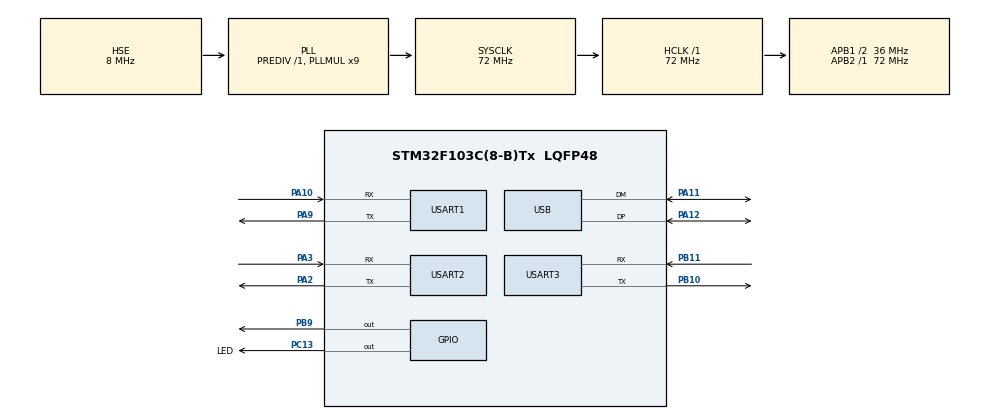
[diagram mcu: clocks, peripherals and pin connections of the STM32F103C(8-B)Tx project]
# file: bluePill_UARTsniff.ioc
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FREERTOS.Tasks01=defaultTask,24,128,StartDefaultTask,Default,NULL,Dynamic,NULL,NULL
FREERTOS.configCHECK_FOR_STACK_OVERFLOW=2
FREERTOS.configGENERATE_RUN_TIME_STATS=1
FREERTOS.configTOTAL_HEAP_SIZE=4096
FREERTOS.configUSE_STATS_FORMATTING_FUNCTIONS=1
Mcu.Family=STM32F1
Mcu.Name=STM32F103C(8-B)Tx
Mcu.Package=LQFP48
Mcu.UserConstants=USART1_BAUDRATE,115200;USART2_BAUDRATE,115200;USART3_BAUDRATE,115200
NVIC.PriorityGroup=NVIC_PRIORITYGROUP_4
NVIC.TIM4_IRQn=true\:15\:0\:false\:false\:true\:false\:false\:true\:true
NVIC.TimeBase=TIM4_IRQn
NVIC.TimeBaseIP=TIM4
NVIC.USART1_IRQn=true\:5\:0\:false\:false\:true\:true\:true\:true\:true
NVIC.USART2_IRQn=true\:5\:0\:false\:false\:true\:true\:true\:true\:true
NVIC.USART3_IRQn=true\:5\:0\:false\:false\:true\:true\:true\:true\:true
NVIC.USB_LP_CAN1_RX0_IRQn=true\:5\:0\:false\:false\:true\:true\:false\:true\:true
PA10.Mode=Asynchronous
PA10.Signal=USART1_RX
PA11.Mode=Device
PA11.Signal=USB_DM
PA12.Mode=Device
PA12.Signal=USB_DP
PA13.Mode=Serial_Wire
PA13.Signal=SYS_JTMS-SWDIO
PA14.Mode=Serial_Wire
PA14.Signal=SYS_JTCK-SWCLK
PA2.Mode=Asynchronous
PA2.Signal=USART2_TX
PA3.Mode=Asynchronous
PA3.Signal=USART2_RX
PA9.Mode=Asynchronous
PA9.Signal=USART1_TX
PB10.Mode=Asynchronous
PB10.Signal=USART3_TX
PB11.Mode=Asynchronous
PB11.Signal=USART3_RX
PB9.GPIO_PuPd=GPIO_NOPULL
PB9.PinState=GPIO_PIN_SET
PB9.Signal=GPIO_Output
PC13-TAMPER-RTC.GPIO_Label=LED
PC13-TAMPER-RTC.GPIO_PuPd=GPIO_NOPULL
PC13-TAMPER-RTC.GPIO_Speed=GPIO_SPEED_FREQ_LOW
PC13-TAMPER-RTC.PinState=GPIO_PIN_SET
PC13-TAMPER-RTC.Signal=GPIO_Output
PC14-OSC32_IN.Mode=LSE-External-Oscillator
PC14-OSC32_IN.Signal=RCC_OSC32_IN
PC15-OSC32_OUT.Mode=LSE-External-Oscillator
PC15-OSC32_OUT.Signal=RCC_OSC32_OUT
PD0-OSC_IN.Mode=HSE-External-Oscillator
PD0-OSC_IN.Signal=RCC_OSC_IN
PD1-OSC_OUT.Mode=HSE-External-Oscillator
PD1-OSC_OUT.Signal=RCC_OSC_OUT
ProjectManager.HeapSize=0x200
ProjectManager.StackSize=0x400
ProjectManager.TargetToolchain=STM32CubeIDE
RCC.AHBFreq_Value=72000000
RCC.APB1CLKDivider=RCC_HCLK_DIV2
RCC.APB1Freq_Value=36000000
RCC.APB1TimFreq_Value=72000000
RCC.APB2Freq_Value=72000000
RCC.APB2TimFreq_Value=72000000
RCC.HCLKFreq_Value=72000000
RCC.PLLMUL=RCC_PLL_MUL9
RCC.PLLSourceVirtual=RCC_PLLSOURCE_HSE
RCC.RTCClockSelection=RCC_RTCCLKSOURCE_LSE
RCC.SYSCLKFreq_VALUE=72000000
RCC.SYSCLKSource=RCC_SYSCLKSOURCE_PLLCLK
RCC.USBFreq_Value=48000000
RCC.USBPrescaler=RCC_USBCLKSOURCE_PLL_DIV1_5
USART1.BaudRate=USART1_BAUDRATE
USART1.VirtualMode=VM_ASYNC
USART2.BaudRate=USART2_BAUDRATE
USART2.VirtualMode=VM_ASYNC
USART3.BaudRate=USART3_BAUDRATE
USART3.VirtualMode=VM_ASYNC
USB_DEVICE.CLASS_NAME_FS=CDC
USB_DEVICE.VirtualMode=Cdc
USB_DEVICE.VirtualModeFS=Cdc_FS
VP_FREERTOS_VS_CMSIS_V2.Mode=CMSIS_V2
VP_SYS_VS_tim4.Mode=TIM4
VP_USB_DEVICE_VS_USB_DEVICE_CDC_FS.Mode=CDC_FS
board=custom

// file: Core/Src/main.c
/* USER CODE BEGIN Header */
/**
  ******************************************************************************
  * @file           : main.c
  * @brief          : Main program body
  ******************************************************************************
  * @attention
  *
  * <h2><center>&copy; Copyright (c) 2022 STMicroelectronics.
  * All rights reserved.</center></h2>
  *
  * This software component is licensed by ST under BSD 3-Clause license,
  * the "License"; You may not use this file except in compliance with the
  * License. You may obtain a copy of the License at:
  *                        opensource.org/licenses/BSD-3-Clause
  *
  ******************************************************************************
  */
/* USER CODE END Header */
#include "main.h"
#include "cmsis_os.h"
#include "usb_device.h"

/* USER CODE BEGIN Includes */
#include "usbd_cdc_if.h"
#include "string.h"
/* USER CODE END Includes */

/* USER CODE BEGIN PD */
#define USB_SEND_QUEVE_NUM 32
#define RX_BUF_SIZE 17
#define HEX_BUF_SIZE 52

#define	SEND_STRING_LENGTH 16 	//3 - UART name, 16 - message bytes
#define SPACING_LENGTH 2
#define HEX_VAL_LENGTH 3		//2 symbols + space
#define PREFIX_LENGTH 5
#define BAUD_RATE_MAX_LENGTH 10
#define USB_SEND_BUF_SIZE 100

#define UART_TIMEOUT 1000
#define UART1_NUM '1'
#define UART2_NUM '2'
#define UART3_NUM '3'

#define TRUE 1
#define FALSE 0
/* USER CODE END PD */

 UART_HandleTypeDef huart1;
UART_HandleTypeDef huart2;
UART_HandleTypeDef huart3;

/* Definitions for defaultTask */
osThreadId_t defaultTaskHandle;
const osThreadAttr_t defaultTask_attributes = {
  .name = "defaultTask",
  .stack_size = 128 * 4,
  .priority = (osPriority_t) osPriorityNormal,
};
/* USER CODE BEGIN PV */
const osThreadAttr_t USART2_RX_attributes = {
  .name = "USART2_RX",
  .stack_size = 128 * 4,
  .priority = (osPriority_t) osPriorityNormal,
};

const osThreadAttr_t USART2_TX_attributes = {
  .name = "USART2_TX",
  .stack_size = 128 * 4,
  .priority = (osPriority_t) osPriorityNormal,
};

const osThreadAttr_t USB_Send_attributes = {
  .name = "USB_Send",
  .stack_size = 256 * 4,
  .priority = (osPriority_t) osPriorityNormal,
};

const osThreadAttr_t USB_Receive_attributes = {
  .name = "USB_Receive",
  .stack_size = 128 * 4,
  .priority = (osPriority_t) osPriorityNormal,
};

const osThreadAttr_t test_messages_attributes = {
  .name = "test_messages",
  .stack_size = 128 * 4,
  .priority = (osPriority_t) osPriorityNormal,
};

osMessageQueueId_t usbSendQueue;

const char UART1_str[] = "U1";
const char UART2_str[] = "U2";
const char UART3_str[] = "U3";
//RTC_TimeTypeDef time = {0};
HAL_StatusTypeDef rtcStatus;

typedef struct {
	uint8_t uart;
	uint8_t byte;
} newData;

uint8_t uart1_byte, uart2_byte, uart3_byte;
/* USER CODE END PV */

void SystemClock_Config(void);
static void MX_GPIO_Init(void);
static void MX_USART2_UART_Init(void);
static void MX_USART1_UART_Init(void);
static void MX_USART3_UART_Init(void);
void StartDefaultTask(void *argument);

/* USER CODE BEGIN PFP */
void USART2_RX(void *argument);
void USART2_TX(void *argument);
void USB_Send(void *argument);
void USB_Receive(void *argument);
void Test_Messages(void *argument);
/* USER CODE END PFP */

/* USER CODE BEGIN 0 */

/*int _write(int file, char *ptr, int len){
	for(int i = 0; i < len; i++){
		ITM_SendChar((*ptr++));
	}
	return len;
}*/

int _write(int file, char* ptr, int len) {
		HAL_UART_Transmit(&huart2, (uint8_t*) ptr, len, UART_TIMEOUT);
	return len;
}

/*uint8_t _write(int file, char* ptr, int len) {
	uint8_t result = USBD_OK;
	result = CDC_Transmit_FS(ptr, len);
	return result;
}*/

void HAL_UART_RxCpltCallback(UART_HandleTypeDef *huart)
{
	newData data;

	switch ((uint32_t)huart->Instance){
	case(uint32_t)USART1:
			data.uart = UART1_NUM;
			data.byte = uart1_byte;
			osMessageQueuePut(usbSendQueue, &data, 0U, 0U);
			HAL_UART_Receive_IT(&huart1, &uart1_byte,1);
			break;
	case(uint32_t)USART2:
			data.uart = UART2_NUM;
			data.byte = uart2_byte;
			osMessageQueuePut(usbSendQueue, &data, 0U, 0U);
			HAL_UART_Receive_IT(&huart2, &uart2_byte,1);
			HAL_GPIO_TogglePin(LED_GPIO_Port, LED_Pin);
			break;
	case(uint32_t)USART3:
			data.uart = UART3_NUM;
			data.byte = uart3_byte;
			osMessageQueuePut(usbSendQueue, &data, 0U, 0U);
			HAL_UART_Receive_IT(&huart3, &uart3_byte,1);
			break;
	}
}
/* USER CODE END 0 */

int main(void)
{

  /* MCU Configuration--------------------------------------------------------*/

  /* Reset of all peripherals, Initializes the Flash interface and the Systick. */
  HAL_Init();

  /* Configure the system clock */
  SystemClock_Config();

  /* Initialize all configured peripherals */
  MX_GPIO_Init();
  MX_USART2_UART_Init();
  MX_USART1_UART_Init();
  MX_USART3_UART_Init();
  /* USER CODE BEGIN 2 */
  HAL_UART_Receive_IT(&huart2, &uart2_byte, 1);
  /* USER CODE END 2 */

  /* Init scheduler */
  osKernelInitialize();

  /* USER CODE BEGIN RTOS_QUEUES */
  /* add queues, ... */
  usbSendQueue = osMessageQueueNew(USB_SEND_QUEVE_NUM, sizeof(newData), NULL);
  /* USER CODE END RTOS_QUEUES */

  /* Create the thread(s) */
  /* creation of defaultTask */
  defaultTaskHandle = osThreadNew(StartDefaultTask, NULL, &defaultTask_attributes);

  /* USER CODE BEGIN RTOS_THREADS */
  /* add threads, ... */
//  osThreadNew(USART2_RX, NULL, &USART2_RX_attributes);
//  osThreadNew(USART2_TX, NULL, &USART2_TX_attributes);
  osThreadNew(USB_Send, NULL, &USB_Send_attributes);
//  osThreadNew(USB_Receive, NULL, &USB_Receive_attributes);
  osThreadNew(Test_Messages, NULL, &test_messages_attributes);
  /* USER CODE END RTOS_THREADS */

  /* Start scheduler */
  osKernelStart();

  /* We should never get here as control is now taken by the scheduler */
  /* Infinite loop */
  while (1)
  {

  }
}

void SystemClock_Config(void)
{
  RCC_OscInitTypeDef RCC_OscInitStruct = {0};
  RCC_ClkInitTypeDef RCC_ClkInitStruct = {0};
  RCC_PeriphCLKInitTypeDef PeriphClkInit = {0};

  /** Initializes the RCC Oscillators according to the specified parameters
  * in the RCC_OscInitTypeDef structure.
  */
  RCC_OscInitStruct.OscillatorType = RCC_OSCILLATORTYPE_HSE;
  RCC_OscInitStruct.HSEState = RCC_HSE_ON;
  RCC_OscInitStruct.HSEPredivValue = RCC_HSE_PREDIV_DIV1;
  RCC_OscInitStruct.HSIState = RCC_HSI_ON;
  RCC_OscInitStruct.PLL.PLLState = RCC_PLL_ON;
  RCC_OscInitStruct.PLL.PLLSource = RCC_PLLSOURCE_HSE;
  RCC_OscInitStruct.PLL.PLLMUL = RCC_PLL_MUL9;
  if (HAL_RCC_OscConfig(&RCC_OscInitStruct) != HAL_OK)
  {
    Error_Handler();
  }

  /** Initializes the CPU, AHB and APB buses clocks
  */
  RCC_ClkInitStruct.ClockType = RCC_CLOCKTYPE_HCLK|RCC_CLOCKTYPE_SYSCLK
                              |RCC_CLOCKTYPE_PCLK1|RCC_CLOCKTYPE_PCLK2;
  RCC_ClkInitStruct.SYSCLKSource = RCC_SYSCLKSOURCE_PLLCLK;
  RCC_ClkInitStruct.AHBCLKDivider = RCC_SYSCLK_DIV1;
  RCC_ClkInitStruct.APB1CLKDivider = RCC_HCLK_DIV2;
  RCC_ClkInitStruct.APB2CLKDivider = RCC_HCLK_DIV1;

  if (HAL_RCC_ClockConfig(&RCC_ClkInitStruct, FLASH_LATENCY_2) != HAL_OK)
  {
    Error_Handler();
  }
  PeriphClkInit.PeriphClockSelection = RCC_PERIPHCLK_USB;
  PeriphClkInit.UsbClockSelection = RCC_USBCLKSOURCE_PLL_DIV1_5;
  if (HAL_RCCEx_PeriphCLKConfig(&PeriphClkInit) != HAL_OK)
  {
    Error_Handler();
  }
}

static void MX_USART1_UART_Init(void)
{

  huart1.Instance = USART1;
  huart1.Init.BaudRate = USART1_BAUDRATE;
  huart1.Init.WordLength = UART_WORDLENGTH_8B;
  huart1.Init.StopBits = UART_STOPBITS_1;
  huart1.Init.Parity = UART_PARITY_NONE;
  huart1.Init.Mode = UART_MODE_TX_RX;
  huart1.Init.HwFlowCtl = UART_HWCONTROL_NONE;
  huart1.Init.OverSampling = UART_OVERSAMPLING_16;
  if (HAL_UART_Init(&huart1) != HAL_OK)
  {
    Error_Handler();
  }

}

static void MX_USART2_UART_Init(void)
{

  huart2.Instance = USART2;
  huart2.Init.BaudRate = USART2_BAUDRATE;
  huart2.Init.WordLength = UART_WORDLENGTH_8B;
  huart2.Init.StopBits = UART_STOPBITS_1;
  huart2.Init.Parity = UART_PARITY_NONE;
  huart2.Init.Mode = UART_MODE_TX_RX;
  huart2.Init.HwFlowCtl = UART_HWCONTROL_NONE;
  huart2.Init.OverSampling = UART_OVERSAMPLING_16;
  if (HAL_UART_Init(&huart2) != HAL_OK)
  {
    Error_Handler();
  }

}

static void MX_USART3_UART_Init(void)
{

  huart3.Instance = USART3;
  huart3.Init.BaudRate = USART3_BAUDRATE;
  huart3.Init.WordLength = UART_WORDLENGTH_8B;
  huart3.Init.StopBits = UART_STOPBITS_1;
  huart3.Init.Parity = UART_PARITY_NONE;
  huart3.Init.Mode = UART_MODE_TX_RX;
  huart3.Init.HwFlowCtl = UART_HWCONTROL_NONE;
  huart3.Init.OverSampling = UART_OVERSAMPLING_16;
  if (HAL_UART_Init(&huart3) != HAL_OK)
  {
    Error_Handler();
  }

}

static void MX_GPIO_Init(void)
{
  GPIO_InitTypeDef GPIO_InitStruct = {0};

  /* GPIO Ports Clock Enable */
  __HAL_RCC_GPIOC_CLK_ENABLE();
  __HAL_RCC_GPIOD_CLK_ENABLE();
  __HAL_RCC_GPIOA_CLK_ENABLE();
  __HAL_RCC_GPIOB_CLK_ENABLE();

  /*Configure GPIO pin Output Level */
  HAL_GPIO_WritePin(LED_GPIO_Port, LED_Pin, GPIO_PIN_SET);

  /*Configure GPIO pin Output Level */
  HAL_GPIO_WritePin(GPIOB, GPIO_PIN_9, GPIO_PIN_SET);

  /*Configure GPIO pin : LED_Pin */
  GPIO_InitStruct.Pin = LED_Pin;
  GPIO_InitStruct.Mode = GPIO_MODE_OUTPUT_PP;
  GPIO_InitStruct.Pull = GPIO_NOPULL;
  GPIO_InitStruct.Speed = GPIO_SPEED_FREQ_LOW;
  HAL_GPIO_Init(LED_GPIO_Port, &GPIO_InitStruct);

  /*Configure GPIO pin : PB9 */
  GPIO_InitStruct.Pin = GPIO_PIN_9;
  GPIO_InitStruct.Mode = GPIO_MODE_OUTPUT_PP;
  GPIO_InitStruct.Pull = GPIO_NOPULL;
  GPIO_InitStruct.Speed = GPIO_SPEED_FREQ_LOW;
  HAL_GPIO_Init(GPIOB, &GPIO_InitStruct);

}

/* USER CODE BEGIN 4 */
void Test_Messages(void *argument){
//	uint8_t msg [] = {"Hello, world!\n\rLorem ipsum\n\r"};
	for(;;)
	  {
//		CDC_Transmit_FS(msg, 29);
/*		HAL_UART_Transmit_DMA(&huart2,(uint8_t *)&msg, 28);
		HAL_GPIO_WritePin(LED_GPIO_Port, LED_Pin, GPIO_PIN_RESET);
		HAL_GPIO_WritePin(GPIOB, GPIO_PIN_9, GPIO_PIN_RESET);

		osDelay(1000);
		 HAL_GPIO_WritePin(LED_GPIO_Port, LED_Pin, GPIO_PIN_SET);
		 HAL_GPIO_WritePin(GPIOB, GPIO_PIN_9, GPIO_PIN_SET);*/
		 osDelay(1000);
	  }
}

void USB_Send(void *argument){
	newData data;
	uint8_t uartPrev;
	uint8_t byte_count = 0;
	uint8_t USB_Send_buf[USB_SEND_BUF_SIZE] = {0};
	uint8_t *ptr_uSend = USB_Send_buf;
	uint8_t *ptr_hex;

	for(;;){
		osMessageQueueGet (usbSendQueue, &data, NULL, osWaitForever);

		if (data.uart != uartPrev || byte_count >= SEND_STRING_LENGTH){
			for(uint8_t i = 0; i < PREFIX_LENGTH + SEND_STRING_LENGTH + SPACING_LENGTH; i++){
				USB_Send_buf[i] = 0x20; 	//spaces
			}

			ptr_uSend = USB_Send_buf;		//pointer to begin of the buffer

			*(ptr_uSend++) = '\n';
			*(ptr_uSend++) = '\r';
			*(ptr_uSend++) = 'U';
			*(ptr_uSend++) = data.uart;
			*(ptr_uSend++) = 0x20; 			//space

			byte_count = 0;
			uartPrev = data.uart;
		}

		byte_count++;
		*(ptr_uSend++) = data.byte;

		ptr_hex = &(USB_Send_buf[5 + SEND_STRING_LENGTH + (byte_count * 3)]);
		sprintf((char *) ptr_hex, "%02X ", data.byte);

		if (byte_count == 1){
			CDC_Transmit_FS(USB_Send_buf, PREFIX_LENGTH + SEND_STRING_LENGTH + SPACING_LENGTH + (byte_count * HEX_VAL_LENGTH));			/*	(PREFIX_LENGTH - first 5 symbols: '\n\rUn ')	*/
		}
		else{
			CDC_Transmit_FS(USB_Send_buf + 1, (PREFIX_LENGTH-1) + SEND_STRING_LENGTH + SPACING_LENGTH + (byte_count * HEX_VAL_LENGTH)); 	/* ("PREFIX_LENGTH-1" - 4 symbols (without first): '\rUn ') */
		}
	}
}

/* USER CODE END 4 */

void StartDefaultTask(void *argument)
{
  /* init code for USB_DEVICE */
  MX_USB_DEVICE_Init();
  /* USER CODE BEGIN 5 */
//  static char pcWriteBuffer[512] = {0};
  /* Infinite loop */
  for(;;)
  {
//	vTaskGetRunTimeStats(pcWriteBuffer);
    osDelay(1000);
  }
  /* USER CODE END 5 */
}

void HAL_TIM_PeriodElapsedCallback(TIM_HandleTypeDef *htim)
{
  if (htim->Instance == TIM4) {
    HAL_IncTick();
  }
}

void Error_Handler(void)
{
  __disable_irq();
  while (1)
  {
  }
}

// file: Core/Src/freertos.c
/* USER CODE BEGIN Header */
/**
  ******************************************************************************
  * File Name          : freertos.c
  * Description        : Code for freertos applications
  ******************************************************************************
  * @attention
  *
  * Copyright (c) 2022 STMicroelectronics.
  * All rights reserved.
  *
  * This software is licensed under terms that can be found in the LICENSE file
  * in the root directory of this software component.
  * If no LICENSE file comes with this software, it is provided AS-IS.
  *
  ******************************************************************************
  */
/* USER CODE END Header */

#include "FreeRTOS.h"
#include "task.h"
#include "main.h"

/* Hook prototypes */
void configureTimerForRunTimeStats(void);
unsigned long getRunTimeCounterValue(void);
void vApplicationStackOverflowHook(xTaskHandle xTask, signed char *pcTaskName);

/* USER CODE BEGIN 1 */
/* Functions needed when configGENERATE_RUN_TIME_STATS is on */
__weak void configureTimerForRunTimeStats(void)
{

}

__weak unsigned long getRunTimeCounterValue(void)
{
	static uint32_t time = 0;
	return time++;
}
/* USER CODE END 1 */

/* USER CODE BEGIN 4 */
void vApplicationStackOverflowHook(xTaskHandle xTask, signed char *pcTaskName)
{
   /* Run time stack overflow checking is performed if
   configCHECK_FOR_STACK_OVERFLOW is defined to 1 or 2. This hook function is
   called if a stack overflow is detected. */
	for(;;);
}
/* USER CODE END 4 */
